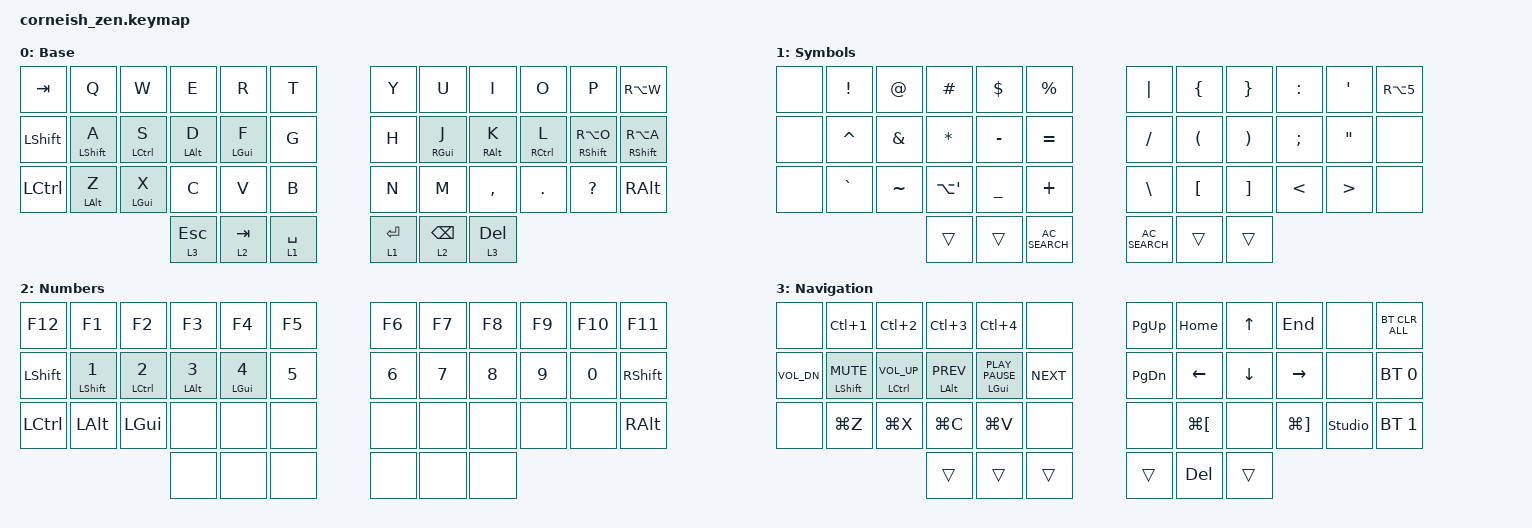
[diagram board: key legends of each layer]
/*
*
* Copyright (c) 2021 Darryl deHaan
* SPDX-License-Identifier: MIT
*
*/

#include <dt-bindings/zmk/mouse.h>
#include <behaviors.dtsi>
#include <dt-bindings/zmk/bt.h>
#include <dt-bindings/zmk/keys.h>

&mt {
    flavor = "tap-preferred";
    quick-tap-ms = <150>;
};

&lt { quick-tap-ms = <150>; };

/ {
    chosen {
        // ZMK Studio requires physical layouts instead of a fixed matrix transform.
        // The board already selects the 6-column layout; swap for the 5-column one below.
        zmk,physical-layout = &foostan_corne_6col_layout;

        //zmk,physical-layout = &foostan_corne_5col_layout;
    };
};

/ {
    combos {
        compatible = "zmk,combos";

        mus {
            bindings = <&mo 2>;
            key-positions = <37 38>;
        };
    };

    behaviors {
        comma: comma {
            compatible = "zmk,behavior-mod-morph";
            label = "COMMA";
            bindings = <&kp COMMA>, <&kp SEMICOLON>;

            #binding-cells = <0>;
            mods = <(MOD_RSFT|MOD_LSFT)>;
        };

        dot: dot {
            compatible = "zmk,behavior-mod-morph";
            label = "DOT";
            bindings = <&kp DOT>, <&kp COLON>;

            #binding-cells = <0>;
            mods = <(MOD_LSFT|MOD_RSFT)>;
        };

        qmark: qmark {
            compatible = "zmk,behavior-mod-morph";
            label = "QMARK";
            bindings = <&kp QMARK>, <&kp EXCL>;

            #binding-cells = <0>;
            mods = <(MOD_RSFT|MOD_LSFT)>;
        };
    };

    keymap {
        compatible = "zmk,keymap";

        Base {
            bindings = <
&kp TAB         &kp Q           &kp W           &kp E         &kp R       &kp T          &kp Y        &kp U            &kp I         &kp O        &kp P             &kp RA(W)
&kp LEFT_SHIFT  &mt LSHIFT A    &mt LCTRL S     &mt LALT D    &mt LGUI F  &kp G          &kp H        &mt RGUI J       &mt RALT K    &mt RCTRL L  &mt RSHIFT RA(O)  &mt RIGHT_SHIFT RA(A)
&kp LCTRL       &mt LEFT_ALT Z  &mt LEFT_GUI X  &kp C         &kp V       &kp B          &kp N        &kp M            &kp COMMA     &kp DOT      &kp QMARK         &kp RIGHT_ALT
                                                &lt 3 ESCAPE  &lt 2 TAB   &lt 1 SPACE    &lt 1 ENTER  &lt 2 BACKSPACE  &lt 3 DELETE
            >;

            display-name = "Base";
        };

        Sym {
            bindings = <
&none  &kp EXCL   &kp AT     &kp HASH     &kp DLLR   &kp PRCNT          &kp PIPE         &kp LBRC  &kp RBRC  &kp COLON  &kp SQT  &kp RA(N5)
&none  &kp CARET  &kp AMPS   &kp ASTRK    &kp MINUS  &kp EQUAL          &kp FSLH         &kp LPAR  &kp RPAR  &kp SEMI   &kp DQT  &none
&none  &kp GRAVE  &kp TILDE  &kp LA(SQT)  &kp UNDER  &kp PLUS           &kp BSLH         &kp LBKT  &kp RBKT  &kp LT     &kp GT   &none
                             &trans       &trans     &kp C_AC_SEARCH    &kp C_AC_SEARCH  &trans    &trans
            >;

            display-name = "Symbols";
        };

        Num {
            bindings = <
&kp F12     &kp F1         &kp F2        &kp F3       &kp F4       &kp F5    &kp F6  &kp F7  &kp F8  &kp F9  &kp F10  &kp F11
&kp LSHIFT  &mt LSHIFT N1  &mt LCTRL N2  &mt LALT N3  &mt LGUI N4  &kp N5    &kp N6  &kp N7  &kp N8  &kp N9  &kp N0   &kp RSHIFT
&kp LCTRL   &kp LALT       &kp LGUI      &none        &none        &none     &none   &none   &none   &none   &none    &kp RIGHT_ALT
                                         &none        &none        &none     &none   &none   &none
            >;

            display-name = "Numbers";
        };

        Nav {
            bindings = <
&none         &kp LC(N1)         &kp LC(N2)          &kp LC(N3)       &kp LC(N4)             &none         &kp PAGE_UP    &kp HOME      &kp UP    &kp END       &none  &bt BT_CLR_ALL
&kp C_VOL_DN  &mt LSHIFT K_MUTE  &mt LCTRL C_VOL_UP  &mt LALT K_PREV  &mt LGUI K_PLAY_PAUSE  &kp K_NEXT    &kp PAGE_DOWN  &kp LEFT      &kp DOWN  &kp RIGHT     &none  &bt BT_SEL 0
&none         &kp LG(Z)          &kp LG(X)           &kp LG(C)        &kp LG(V)              &none         &none          &kp LG(LBKT)  &none     &kp LG(RBKT)  &studio_unlock  &bt BT_SEL 1
                                                     &trans           &trans                 &trans        &trans         &kp DEL       &trans
            >;

            display-name = "Navigation";
        };
    };
};
